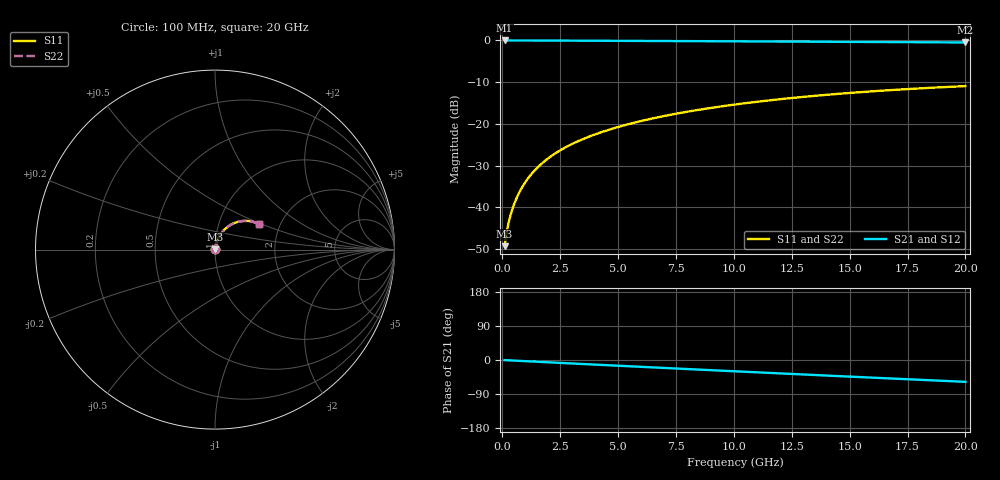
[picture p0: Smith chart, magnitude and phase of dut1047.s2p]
! Touchstone file exported from HFSS 2026.1.0
!  File:  C:/ffzhzh/LocalFiles/Ansys_Project_Files/temp_train_BSMRDL_1047_1783173871_22436.aedt
!  Generated:  10:05:51 PM Jul  4, 2026
!  Design:  BSMRDL
!  Project:  temp_train_BSMRDL_1047_1783173871_22436
! Variables:
!  h_bsmrdl = 5.99um
!  h_ox = 20um
!  h_rdl = 5um
!  h_sub = 80um
!  h_tmrdl = 5um
!  h_tsv = 80um
!  h_via = 3um
!  l_bsmrdl = 990.14um
!  l_sub = 1390.14um
!  l_tmrdl = 200um
!  m_sub = 200um
!  pitch = 42.31um
!  r_tsv = 6um
!  s_tmrdl = 10um
!  w_bsmrdl = 26.6um
!  w_sub = 500um
!  w_tmrdl = 12um
!  x_tsv_center1 = 206um
!  x_tsv_center2 = 1222.74um
!  x_tsv_center3 = 1434.74um
!  x_tsv_center4 = 2451.48um
!  x_tsv_center5 = 2663.48um
!  x_tsv_center6 = 3680.22um
# GHz S MA R 50.000000
! Terminal data exported
! Port[1] = BSM_RDL1_1_T1
! Port[2] = BSM_RDL1_1_T2
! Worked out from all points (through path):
!   200 points, 100 MHz to 20 GHz, reference 50 ohm
!   highest |S21| = -0.02 dB at 100 MHz (marker M1); lowest = -0.5 dB at 20 GHz (marker M2)
!   group delay of S21, straight-line fit = 7.99 ps
!   lowest |S11| = -49.3 dB at 100 MHz (marker M3), VSWR 1.01, Z = 50.3 + j0.235 ohm
!   |S11| at or under -10 dB: start of sweep to end of sweep
!   |S22| runs from -49.3 to -10.9 dB; largest |S21 - S12| = 5.5e-15
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0.1  0.003436 43.0  0.9975 -0.3  0.9975 -0.3  0.003436 43.0
! Gamma 0 0 0 0
! Port Impedance 50 0 50 0
0.2  0.005261 57.2  0.9972 -0.6  0.9972 -0.6  0.005261 57.2
0.3  0.007081 63.8  0.997 -1.0  0.997 -1.0  0.007081 63.8
0.4  0.0089 67.8  0.9969 -1.3  0.9969 -1.3  0.0089 67.8
0.5  0.01074 70.6  0.9967 -1.6  0.9967 -1.6  0.01074 70.6
0.6  0.0126 72.6  0.9966 -1.9  0.9966 -1.9  0.0126 72.6
0.8  0.01636 75.0  0.9964 -2.5  0.9964 -2.5  0.01636 75.0
1.1  0.02206 76.6  0.996 -3.4  0.996 -3.4  0.02206 76.6
1.3  0.02586 77.0  0.9957 -4.0  0.9957 -4.0  0.02586 77.0
1.6  0.03153 77.1  0.9952 -5.0  0.9952 -5.0  0.03153 77.1
2.1  0.04087 76.6  0.9943 -6.5  0.9943 -6.5  0.04087 76.6
2.7  0.05184 75.4  0.993 -8.3  0.993 -8.3  0.05184 75.4
3.5  0.06608 73.5  0.9911 -10.7  0.9911 -10.7  0.06608 73.5
4.2  0.07823 71.8  0.9895 -12.8  0.9895 -12.8  0.07823 71.7
5  0.09179 69.7  0.9875 -15.1  0.9875 -15.1  0.09179 69.7
5.9  0.1067 67.4  0.9852 -17.8  0.9852 -17.8  0.1067 67.3
6.8  0.1212 65.0  0.9829 -20.4  0.9829 -20.4  0.1212 65.0
8.4  0.1462 60.8  0.9785 -25.1  0.9785 -25.1  0.1462 60.7
10.1  0.1714 56.2  0.9736 -30.0  0.9736 -30.0  0.1714 56.1
13.4  0.2156 47.3  0.9635 -39.4  0.9635 -39.4  0.2156 47.2
16.7  0.2532 38.5  0.9535 -48.6  0.9535 -48.6  0.2532 38.4
20  0.2835 29.8  0.9444 -57.7  0.9444 -57.7  0.2835 29.6
